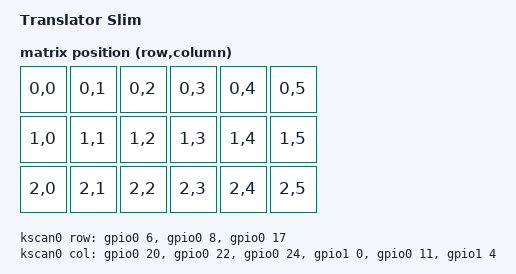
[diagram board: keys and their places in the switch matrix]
/dts-v1/;
#include <nordic/nrf52840_qiaa.dtsi>
#include <zephyr/dt-bindings/input/input-event-codes.h>

/ {
    model = "Translator Slim";
    compatible = "translator,slim";

    chosen {
        zephyr,sram = &sram0;
        zephyr,flash = &flash0;
        zephyr,code-partition = &code_partition;
        zephyr,console = &cdc_acm_uart;
        zephyr,shell-uart = &cdc_acm_uart;
        zmk,kscan = &kscan0;
        zmk,matrix-transform = &default_transform;
    };

    default_transform: keymap_transform_0 {
        compatible = "zmk,matrix-transform";
        rows = <3>;
        columns = <6>;

        map = <
            RC(0,0) RC(0,1) RC(0,2) RC(0,3) RC(0,4) RC(0,5)
            RC(1,0) RC(1,1) RC(1,2) RC(1,3) RC(1,4) RC(1,5)
            RC(2,0) RC(2,1) RC(2,2) RC(2,3) RC(2,4) RC(2,5)
        >;
    };

    kscan0: kscan {
        compatible = "zmk,kscan-gpio-matrix";
        label = "KSCAN";
        diode-direction = "col2row";

        row-gpios
            = <&gpio0 6 (GPIO_ACTIVE_HIGH | GPIO_PULL_DOWN)>
            , <&gpio0 8 (GPIO_ACTIVE_HIGH | GPIO_PULL_DOWN)>
            , <&gpio0 17 (GPIO_ACTIVE_HIGH | GPIO_PULL_DOWN)>
            ;

        col-gpios
            = <&gpio0 20 GPIO_ACTIVE_HIGH>
            , <&gpio0 22 GPIO_ACTIVE_HIGH>
            , <&gpio0 24 GPIO_ACTIVE_HIGH>
            , <&gpio1 0 GPIO_ACTIVE_HIGH>
            , <&gpio0 11 GPIO_ACTIVE_HIGH>
            , <&gpio1 4 GPIO_ACTIVE_HIGH>
            ;
    };
};

&adc {
    status = "okay";
};

&usbd {
    status = "okay";
    cdc_acm_uart: cdc_acm_uart {
        compatible = "zephyr,cdc-acm-uart";
        label = "CDC_ACM_0";
    };
};

&flash0 {
    partitions {
        compatible = "fixed-partitions";
        #address-cells = <1>;
        #size-cells = <1>;

        boot_partition: partition@0 {
            label = "mcuboot";
            reg = <0x00000000 0x0000e000>;
            read-only;
        };

        code_partition: partition@e000 {
            label = "code_partition";
            reg = <0x0000e000 0x000e6000>;
        };
    };
};
